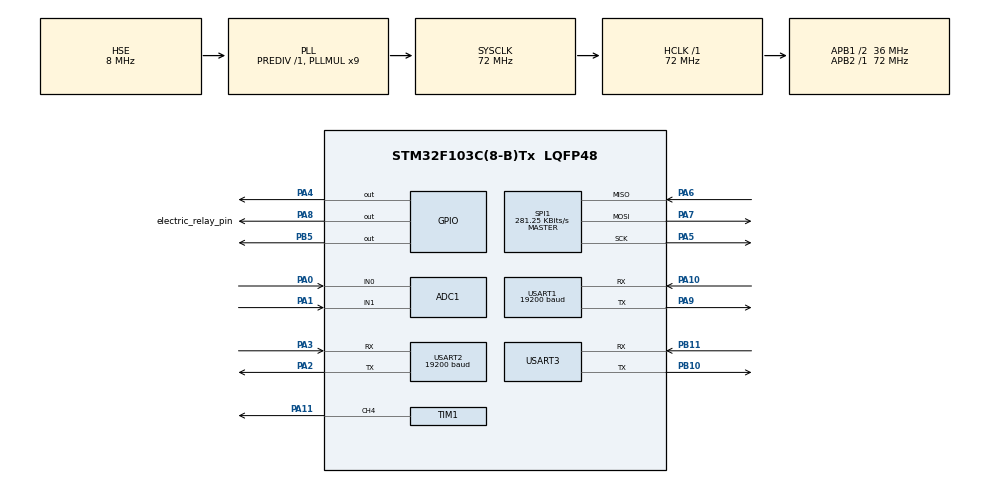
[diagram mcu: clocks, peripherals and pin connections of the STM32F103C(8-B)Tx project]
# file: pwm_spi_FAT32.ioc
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ADC1.Channel-0\#ChannelRegularConversion=ADC_CHANNEL_0
ADC1.Channel-1\#ChannelRegularConversion=ADC_CHANNEL_1
ADC1.ContinuousConvMode=ENABLE
ADC1.NbrOfConversion=2
ADC1.NbrOfConversionFlag=1
ADC1.Rank-0\#ChannelRegularConversion=1
ADC1.Rank-1\#ChannelRegularConversion=2
ADC1.SamplingTime-0\#ChannelRegularConversion=ADC_SAMPLETIME_1CYCLE_5
ADC1.SamplingTime-1\#ChannelRegularConversion=ADC_SAMPLETIME_1CYCLE_5
ADC1.master=1
Dma.ADC1.0.Direction=DMA_PERIPH_TO_MEMORY
Dma.ADC1.0.Instance=DMA1_Channel1
Dma.ADC1.0.MemDataAlignment=DMA_MDATAALIGN_WORD
Dma.ADC1.0.MemInc=DMA_MINC_ENABLE
Dma.ADC1.0.Mode=DMA_CIRCULAR
Dma.ADC1.0.PeriphDataAlignment=DMA_PDATAALIGN_WORD
Dma.ADC1.0.PeriphInc=DMA_PINC_DISABLE
Dma.ADC1.0.Priority=DMA_PRIORITY_HIGH
Dma.Request0=ADC1
FATFS._USE_LFN=2
Mcu.Family=STM32F1
Mcu.Name=STM32F103C(8-B)Tx
Mcu.Package=LQFP48
NVIC.DMA1_Channel1_IRQn=true\:0\:0\:false\:false\:true\:false\:true
NVIC.PriorityGroup=NVIC_PRIORITYGROUP_4
NVIC.TIM1_UP_IRQn=true\:0\:0\:false\:false\:true\:true\:true
NVIC.TIM2_IRQn=true\:0\:0\:false\:false\:true\:true\:true
NVIC.TIM3_IRQn=true\:0\:0\:false\:false\:true\:true\:true
NVIC.TIM4_IRQn=true\:0\:0\:false\:false\:true\:false\:true
NVIC.TimeBase=TIM4_IRQn
NVIC.TimeBaseIP=TIM4
NVIC.USART1_IRQn=true\:0\:0\:false\:false\:true\:true\:true
NVIC.USART2_IRQn=true\:0\:0\:false\:false\:true\:true\:true
NVIC.USART3_IRQn=true\:0\:0\:false\:false\:true\:true\:true
PA0-WKUP.Signal=ADCx_IN0
PA1.Signal=ADCx_IN1
PA10.Mode=Asynchronous
PA10.Signal=USART1_RX
PA11.Signal=S_TIM1_CH4
PA13.Mode=Serial_Wire
PA13.Signal=SYS_JTMS-SWDIO
PA14.Mode=Serial_Wire
PA14.Signal=SYS_JTCK-SWCLK
PA2.Mode=Asynchronous
PA2.Signal=USART2_TX
PA3.Mode=Asynchronous
PA3.Signal=USART2_RX
PA4.Signal=GPIO_Output
PA5.Mode=Full_Duplex_Master
PA5.Signal=SPI1_SCK
PA6.Mode=Full_Duplex_Master
PA6.Signal=SPI1_MISO
PA7.Mode=Full_Duplex_Master
PA7.Signal=SPI1_MOSI
PA8.GPIO_Label=electric_relay_pin
PA8.Signal=GPIO_Output
PA9.Mode=Asynchronous
PA9.Signal=USART1_TX
PB10.Mode=Asynchronous
PB10.Signal=USART3_TX
PB11.Mode=Asynchronous
PB11.Signal=USART3_RX
PB5.GPIO_Speed=GPIO_SPEED_FREQ_HIGH
PB5.PinState=GPIO_PIN_SET
PB5.Signal=GPIO_Output
PD0-OSC_IN.Mode=HSE-External-Oscillator
PD0-OSC_IN.Signal=RCC_OSC_IN
PD1-OSC_OUT.Mode=HSE-External-Oscillator
PD1-OSC_OUT.Signal=RCC_OSC_OUT
ProjectManager.HeapSize=0x200
ProjectManager.StackSize=0x400
ProjectManager.TargetToolchain=STM32CubeIDE
RCC.ADCPresc=RCC_ADCPCLK2_DIV6
RCC.AHBFreq_Value=72000000
RCC.APB1CLKDivider=RCC_HCLK_DIV2
RCC.APB1Freq_Value=36000000
RCC.APB1TimFreq_Value=72000000
RCC.APB2Freq_Value=72000000
RCC.APB2TimFreq_Value=72000000
RCC.HCLKFreq_Value=72000000
RCC.PLLMUL=RCC_PLL_MUL9
RCC.PLLSourceVirtual=RCC_PLLSOURCE_HSE
RCC.SYSCLKFreq_VALUE=72000000
RCC.SYSCLKSource=RCC_SYSCLKSOURCE_PLLCLK
RCC.USBFreq_Value=72000000
SH.ADCx_IN0.0=ADC1_IN0,IN0
SH.ADCx_IN1.0=ADC1_IN1,IN1
SH.S_TIM1_CH4.0=TIM1_CH4,PWM Generation4 CH4
SPI1.BaudRatePrescaler=SPI_BAUDRATEPRESCALER_256
SPI1.CalculateBaudRate=281.25 KBits/s
SPI1.Direction=SPI_DIRECTION_2LINES
SPI1.Mode=SPI_MODE_MASTER
SPI1.VirtualType=VM_MASTER
TIM1.Channel-PWM\ Generation4\ CH4=TIM_CHANNEL_4
TIM1.Period=100
TIM1.Prescaler=71
TIM1.Pulse-PWM\ Generation4\ CH4=50
TIM2.Period=99
TIM2.Prescaler=7199
TIM3.AutoReloadPreload=TIM_AUTORELOAD_PRELOAD_DISABLE
TIM3.Period=9999
TIM3.Prescaler=7199
USART1.BaudRate=19200
USART1.VirtualMode=VM_ASYNC
USART2.BaudRate=19200
USART2.VirtualMode=VM_ASYNC
USART3.VirtualMode=VM_ASYNC
VP_FATFS_VS_Generic.Mode=User_defined
VP_SYS_VS_tim4.Mode=TIM4
VP_TIM2_VS_ClockSourceINT.Mode=Internal
VP_TIM3_VS_ClockSourceINT.Mode=Internal
board=custom

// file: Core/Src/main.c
/* USER CODE BEGIN Header */
/**
 ******************************************************************************
 * @file           : main.c
 * @brief          : Main program body
 ******************************************************************************
 * @attention
 *
 * <h2><center>&copy; Copyright (c) 2021 STMicroelectronics.
 * All rights reserved.</center></h2>
 *
 * This software component is licensed by ST under BSD 3-Clause license,
 * the "License"; You may not use this file except in compliance with the
 * License. You may obtain a copy of the License at:
 *                        opensource.org/licenses/BSD-3-Clause
 *
 ******************************************************************************
 */
/* USER CODE END Header */
#include "main.h"
#include "adc.h"
#include "dma.h"
#include "fatfs.h"
#include "spi.h"
#include "tim.h"
#include "usart.h"
#include "gpio.h"

/* USER CODE BEGIN Includes */
#include "../../Src/Device/Measure/measure.h"
#include "../../Src/Device/Open_Tel_Mavlink/open_tel_mavlink.h"
#include "../../Src/System/Mavlink_Usart_Fifo/mavlink_usart_fifo.h"

/* USER CODE END Includes */

void SystemClock_Config(void);

/* USER CODE BEGIN 0 */
extern fifo_t uart_rx_fifo, uart_tx_fifo;
extern uint8_t uart_tx_buf[UART_TX_BUFFER_SIZE],
		uart_rx_buf[UART_RX_BUFFER_SIZE];

void measureStartHandler() {
	Measure_Start();
}

void measureStopHandler() {
	Measure_Stop();
}

/* USER CODE END 0 */

int main(void)
{

  /* MCU Configuration--------------------------------------------------------*/

  /* Reset of all peripherals, Initializes the Flash interface and the Systick. */
  HAL_Init();

  /* USER CODE BEGIN Init */
//	registerMeasureStartHandler(measureStartHandler);
//	registerMeasureStopHandler(measureStopHandler);
  /* USER CODE END Init */

  /* Configure the system clock */
  SystemClock_Config();

  /* Initialize all configured peripherals */
  MX_GPIO_Init();
  MX_DMA_Init();
  MX_USART1_UART_Init();
  MX_TIM1_Init();
  MX_FATFS_Init();
  MX_SPI1_Init();
  MX_USART2_UART_Init();
  MX_TIM3_Init();
  MX_USART3_UART_Init();
  MX_TIM2_Init();
  MX_ADC1_Init();
  /* USER CODE BEGIN 2 */

	//60°
	// 200HZ
	Measure_Device_Init();
	Measure_Start();

	fifo_init(&uart_tx_fifo, uart_tx_buf, UART_TX_BUFFER_SIZE);
	fifo_init(&uart_rx_fifo, uart_rx_buf, UART_RX_BUFFER_SIZE);
  /* USER CODE END 2 */

  /* Infinite loop */
	while (1) {

    /* USER CODE BEGIN 3 */

		Measure_Update();

		mavlink_send_message(0, MSG_LOCATION, 0);
		//mavlink_send_message(0, MSG_ATTITUDE, 0);

		update();

	}
  /* USER CODE END 3 */
}

void SystemClock_Config(void)
{
  RCC_OscInitTypeDef RCC_OscInitStruct = {0};
  RCC_ClkInitTypeDef RCC_ClkInitStruct = {0};
  RCC_PeriphCLKInitTypeDef PeriphClkInit = {0};

  /** Initializes the RCC Oscillators according to the specified parameters
  * in the RCC_OscInitTypeDef structure.
  */
  RCC_OscInitStruct.OscillatorType = RCC_OSCILLATORTYPE_HSE;
  RCC_OscInitStruct.HSEState = RCC_HSE_ON;
  RCC_OscInitStruct.HSEPredivValue = RCC_HSE_PREDIV_DIV1;
  RCC_OscInitStruct.HSIState = RCC_HSI_ON;
  RCC_OscInitStruct.PLL.PLLState = RCC_PLL_ON;
  RCC_OscInitStruct.PLL.PLLSource = RCC_PLLSOURCE_HSE;
  RCC_OscInitStruct.PLL.PLLMUL = RCC_PLL_MUL9;
  if (HAL_RCC_OscConfig(&RCC_OscInitStruct) != HAL_OK)
  {
    Error_Handler();
  }
  /** Initializes the CPU, AHB and APB buses clocks
  */
  RCC_ClkInitStruct.ClockType = RCC_CLOCKTYPE_HCLK|RCC_CLOCKTYPE_SYSCLK
                              |RCC_CLOCKTYPE_PCLK1|RCC_CLOCKTYPE_PCLK2;
  RCC_ClkInitStruct.SYSCLKSource = RCC_SYSCLKSOURCE_PLLCLK;
  RCC_ClkInitStruct.AHBCLKDivider = RCC_SYSCLK_DIV1;
  RCC_ClkInitStruct.APB1CLKDivider = RCC_HCLK_DIV2;
  RCC_ClkInitStruct.APB2CLKDivider = RCC_HCLK_DIV1;

  if (HAL_RCC_ClockConfig(&RCC_ClkInitStruct, FLASH_LATENCY_2) != HAL_OK)
  {
    Error_Handler();
  }
  PeriphClkInit.PeriphClockSelection = RCC_PERIPHCLK_ADC;
  PeriphClkInit.AdcClockSelection = RCC_ADCPCLK2_DIV6;
  if (HAL_RCCEx_PeriphCLKConfig(&PeriphClkInit) != HAL_OK)
  {
    Error_Handler();
  }
}

 /**
  * @brief  Period elapsed callback in non blocking mode
  * @note   This function is called  when TIM4 interrupt took place, inside
  * HAL_TIM_IRQHandler(). It makes a direct call to HAL_IncTick() to increment
  * a global variable "uwTick" used as application time base.
  * @param  htim : TIM handle
  * @retval None
  */

void Error_Handler(void)
{
}

/************************ (C) COPYRIGHT STMicroelectronics *****END OF FILE****/
